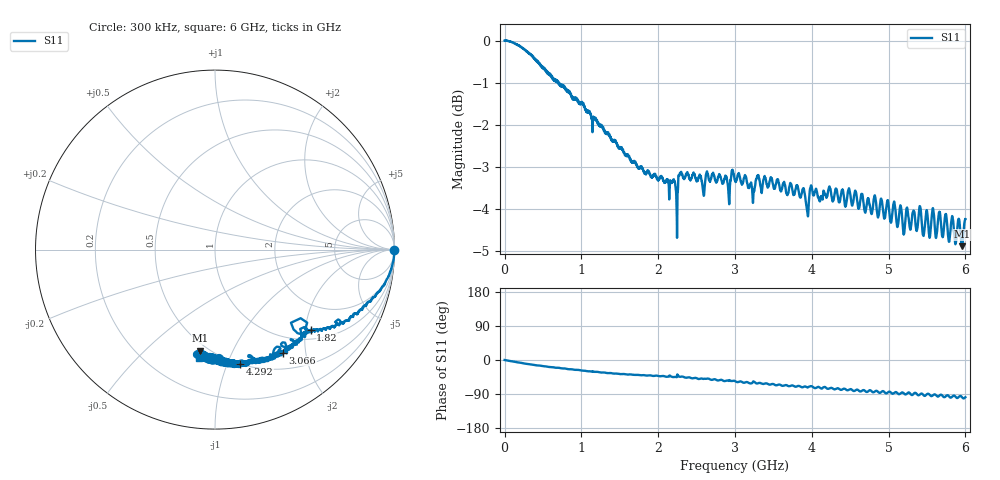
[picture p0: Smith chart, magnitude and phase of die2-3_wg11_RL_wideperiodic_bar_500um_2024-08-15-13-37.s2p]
!Keysight Technologies,P9374A,MY57304198,A.17.20.09
!Date: Thursday, August 15, 2024 13:37:14
!Correction: S11(C  1-Port  )
!S21(C  1-Port  )
!S12(Off)
!S22(Off)
!S2P File: Measurements: S11, S21, S12, S22:
# Hz S  dB  R 50
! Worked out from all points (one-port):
!   6000 points, 300 kHz to 6 GHz, reference 50 ohm
!   lowest |S11| = -4.9 dB at 5.957 GHz (marker M1), VSWR 3.64, Z = 22.7 - j37.8 ohm
!   |S11| at or under -10 dB: nowhere
!   S11 on the Smith chart (normalised r, x): 300 kHz: open; 1.82 GHz: 1.23, -2.14; 3.066 GHz: 0.74, -1.60; 4.292 GHz: 0.50, -1.11; 6 GHz: 0.40, -0.78
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300000  -0.00 -0.0  -200.00 45.0  -200.00 45.0  -200.00 45.0
4.143483e8  -0.49 -14.1  -200.00 45.0  -200.00 45.0  -200.00 45.0
1.000417e9  -1.50 -27.8  -200.00 45.0  -200.00 45.0  -200.00 45.0
1.342457e9  -2.23 -34.5  -200.00 45.0  -200.00 45.0  -200.00 45.0
1.819512e9  -3.15 -40.0  -200.00 45.0  -200.00 45.0  -200.00 45.0
2.000533e9  -3.32 -42.1  -200.00 45.0  -200.00 45.0  -200.00 45.0
2.199557e9  -3.30 -45.1  -200.00 45.0  -200.00 45.0  -200.00 45.0
2.248562e9  -4.09 -38.3  -200.00 45.0  -200.00 45.0  -200.00 45.0
2.280566e9  -3.16 -44.4  -200.00 45.0  -200.00 45.0  -200.00 45.0
2.366576e9  -3.17 -46.7  -200.00 45.0  -200.00 45.0  -200.00 45.0
3.00065e9  -3.32 -55.6  -200.00 45.0  -200.00 45.0  -200.00 45.0
3.065658e9  -3.27 -56.7  -200.00 45.0  -200.00 45.0  -200.00 45.0
3.199673e9  -3.42 -61.9  -200.00 45.0  -200.00 45.0  -200.00 45.0
3.871752e9  -3.61 -72.1  -200.00 45.0  -200.00 45.0  -200.00 45.0
3.93876e9  -4.04 -72.3  -200.00 45.0  -200.00 45.0  -200.00 45.0
4.000767e9  -3.51 -69.4  -200.00 45.0  -200.00 45.0  -200.00 45.0
4.041772e9  -3.59 -74.2  -200.00 45.0  -200.00 45.0  -200.00 45.0
4.167786e9  -3.64 -71.1  -200.00 45.0  -200.00 45.0  -200.00 45.0
4.291801e9  -3.70 -77.5  -200.00 45.0  -200.00 45.0  -200.00 45.0
5.000883e9  -3.92 -84.0  -200.00 45.0  -200.00 45.0  -200.00 45.0
5.956995e9  -4.89 -98.3  -200.00 45.0  -200.00 45.0  -200.00 45.0
6e9  -4.25 -98.2  -200.00 45.0  -200.00 45.0  -200.00 45.0
